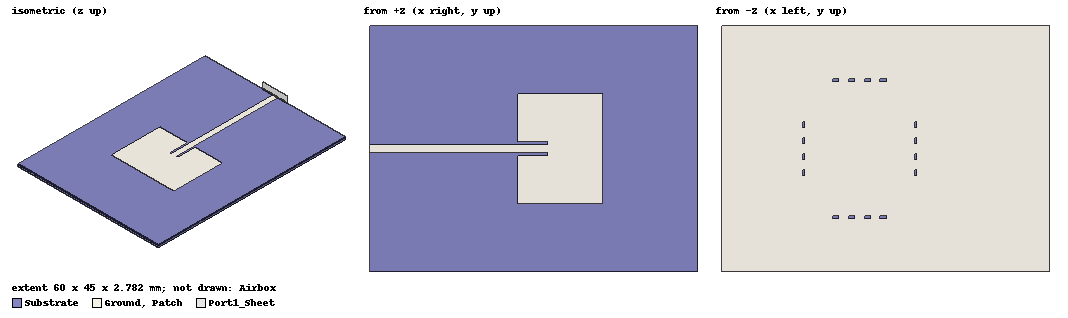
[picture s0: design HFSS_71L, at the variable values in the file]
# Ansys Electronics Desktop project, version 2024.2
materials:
  vacuum: permittivity=1
  RO4350B: permittivity=3.48 permeability=1 dielectric_loss_tangent=0.0037
  pec: conductivity=1e+30
  air: permittivity=1.0006 permeability=1.0000004

design HFSS_71L (HFSS, HFSS Terminal Network, model units mm)
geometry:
  Substrate [RO4350B] = box(corner=(-30mm, -22.5mm, 0mm), size=(60mm, 45mm, 0.762mm))
  Ground [pec] = rectangle(corner=(-30mm, -22.5mm, 0mm), x_size=60mm, y_size=45mm)
  Patch [pec] = rectangle(corner=(-2.99995mm, -10.01535mm, 0.762mm), x_size=15.5383mm, y_size=20.0307mm)
  Feed = rectangle(corner=(-30mm, -0.7991mm, 0.762mm), x_size=32.58775mm, y_size=1.5982mm)
  Patch.unite(Feed)
  TopCut_0_inset_gap_top = rectangle(corner=(-2.99995mm, 0.7991mm, 0.762mm), x_size=5.5877mm, y_size=0.4795mm)
  TopCut_1_inset_gap_bottom = rectangle(corner=(-2.99995mm, -1.2786mm, 0.762mm), x_size=5.5877mm, y_size=0.4795mm)
  Patch.subtract(TopCut_0_inset_gap_top, TopCut_1_inset_gap_bottom)
  GroundCut_0_ebg_0 = rectangle(corner=(-0.22153563mm, -12.734141mm, 0mm), x_size=1.2313382mm, y_size=0.43758281mm)
  GroundCut_1_ebg_1 = rectangle(corner=(2.6951754mm, -12.734141mm, 0mm), x_size=1.2313382mm, y_size=0.43758281mm)
  GroundCut_2_ebg_2 = rectangle(corner=(5.6118864mm, -12.734141mm, 0mm), x_size=1.2313382mm, y_size=0.43758281mm)
  GroundCut_3_ebg_3 = rectangle(corner=(8.5285974mm, -12.734141mm, 0mm), x_size=1.2313382mm, y_size=0.43758281mm)
  GroundCut_4_ebg_4 = rectangle(corner=(-0.22153563mm, 12.296559mm, 0mm), x_size=1.2313382mm, y_size=0.43758281mm)
  GroundCut_5_ebg_5 = rectangle(corner=(2.6951754mm, 12.296559mm, 0mm), x_size=1.2313382mm, y_size=0.43758281mm)
  GroundCut_6_ebg_6 = rectangle(corner=(5.6118864mm, 12.296559mm, 0mm), x_size=1.2313382mm, y_size=0.43758281mm)
  GroundCut_7_ebg_7 = rectangle(corner=(8.5285974mm, 12.296559mm, 0mm), x_size=1.2313382mm, y_size=0.43758281mm)
  GroundCut_8_ebg_8 = rectangle(corner=(-5.7187414mm, -4.9907356mm, 0mm), x_size=0.43758281mm, y_size=1.2313382mm)
  GroundCut_9_ebg_9 = rectangle(corner=(-5.7187414mm, -2.0740246mm, 0mm), x_size=0.43758281mm, y_size=1.2313382mm)
  GroundCut_10_ebg_10 = rectangle(corner=(-5.7187414mm, 0.84268642mm, 0mm), x_size=0.43758281mm, y_size=1.2313382mm)
  GroundCut_11_ebg_11 = rectangle(corner=(-5.7187414mm, 3.7593974mm, 0mm), x_size=0.43758281mm, y_size=1.2313382mm)
  GroundCut_12_ebg_12 = rectangle(corner=(14.819559mm, -4.9907356mm, 0mm), x_size=0.43758281mm, y_size=1.2313382mm)
  GroundCut_13_ebg_13 = rectangle(corner=(14.819559mm, -2.0740246mm, 0mm), x_size=0.43758281mm, y_size=1.2313382mm)
  GroundCut_14_ebg_14 = rectangle(corner=(14.819559mm, 0.84268642mm, 0mm), x_size=0.43758281mm, y_size=1.2313382mm)
  GroundCut_15_ebg_15 = rectangle(corner=(14.819559mm, 3.7593974mm, 0mm), x_size=0.43758281mm, y_size=1.2313382mm)
  Ground.subtract(GroundCut_0_ebg_0, GroundCut_1_ebg_1, GroundCut_2_ebg_2, GroundCut_3_ebg_3, GroundCut_4_ebg_4, GroundCut_5_ebg_5, GroundCut_6_ebg_6, GroundCut_7_ebg_7, GroundCut_8_ebg_8, GroundCut_9_ebg_9, GroundCut_10_ebg_10, GroundCut_11_ebg_11, GroundCut_12_ebg_12, GroundCut_13_ebg_13, GroundCut_14_ebg_14, GroundCut_15_ebg_15)
  Airbox [air] = box(corner=(-30mm, -42.5mm, -20mm), size=(80mm, 85mm, 40.762mm))
  Port1_Sheet = rectangle(corner=(-30mm, -3.9955mm, -0.02mm), y_size=7.991mm, z_size=2.782mm)
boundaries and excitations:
  Copper_PEC: Perfect E Objects=[Ground, Patch]
  Radiation: Radiation Objects=Airbox
  Port1: Wave Port Objects=Port1_Sheet WavePortType=Modal NumModes=1 Modes{Mode1{CharImp=Zpi RenormImp=50ohm}}
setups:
  Setup1: HfssDriven Frequency=5GHz MaxDeltaS=0.02 MaximumPasses=10 MinimumPasses=1 MinimumConvergedPasses=1 PercentRefinement=30 BasisOrder=1 PortAccuracy=2 DrivenSolverType="Direct Solver"
    sweep Sweep_4_6GHz: 4GHz to 6GHz, 101 points; Type=Interpolating SaveRadFields InterpTolerance=0.5 InterpMaxSolns=250 InterpUsePortImped=false PassivityErrorTolerance=0.0001
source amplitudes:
  Port1:1: 1V 0deg
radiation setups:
  InfiniteSphere_EH_Cuts: Infinite Sphere Theta=-180deg..180deg step 1deg Phi=-90deg..90deg step 90deg
